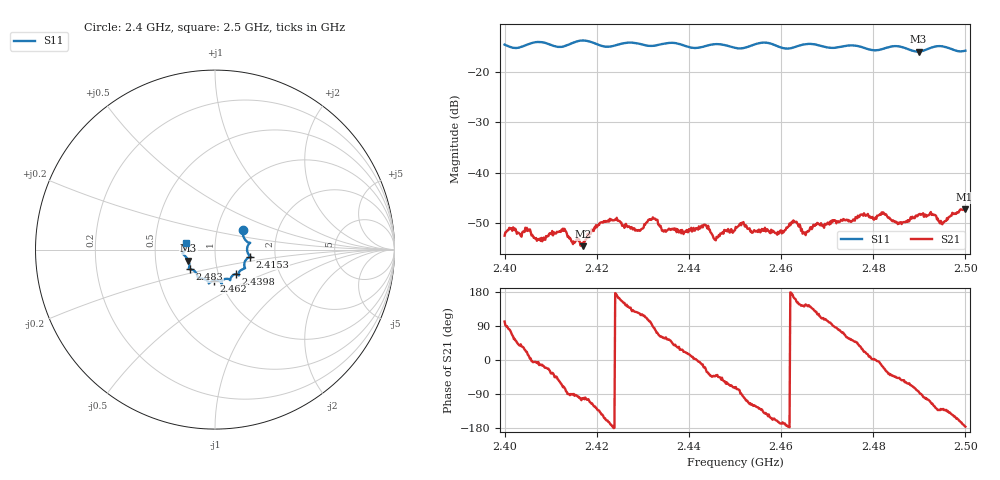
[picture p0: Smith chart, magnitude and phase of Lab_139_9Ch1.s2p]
# Hz S RI R 50
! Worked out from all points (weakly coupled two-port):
!   601 points, 2.4 GHz to 2.5 GHz, reference 50 ohm
!   highest |S21| = -47.24 dB at 2.4998 GHz (marker M1); lowest = -54.6 dB at 2.417 GHz (marker M2)
!   lowest |S11| = -15.9 dB at 2.4898 GHz (marker M3), VSWR 1.38, Z = 36.8 - j4.62 ohm
!   |S11| at or under -10 dB: start of sweep to end of sweep
!   S12 and S22 are empty: the file has one direction only
!   S11 on the Smith chart (normalised r, x): 2.4 GHz: 1.33, +0.29; 2.4153 GHz: 1.48, -0.12; 2.4398 GHz: 1.21, -0.34; 2.462 GHz: 0.93, -0.33; 2.483 GHz: 0.74, -0.17; 2.5 GHz: 0.72, +0.06
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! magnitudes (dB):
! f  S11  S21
! 2.4 GHz  -14.5  -52.5
! 2.405 GHz  -14.5  -51.6
! 2.4083 GHz  -14.1  -53.2
! 2.4128 GHz  -14.9  -51.6
! 2.4153 GHz  -14.0  -53.7
! 2.4167 GHz  -13.7  -54.1
! 2.417 GHz  -13.7  -54.6
! 2.4213 GHz  -14.8  -49.9
! 2.4288 GHz  -14.3  -51.6
! 2.4333 GHz  -14.6  -50.3
! 2.4398 GHz  -15.0  -51.8
! 2.4437 GHz  -14.8  -50.4
! 2.4458 GHz  -14.4  -53.4
! 2.45 GHz  -15.1  -51.4
! 2.462 GHz  -15.2  -50.5
! 2.4667 GHz  -14.4  -51.2
! 2.483 GHz  -15.1  -48.6
! 2.4833 GHz  -15.0  -49.0
! 2.4898 GHz  -15.9  -48.3
! 2.4948 GHz  -14.8  -50.1
! 2.4998 GHz  -15.7  -47.2
! 2.5 GHz  -15.7  -47.3
